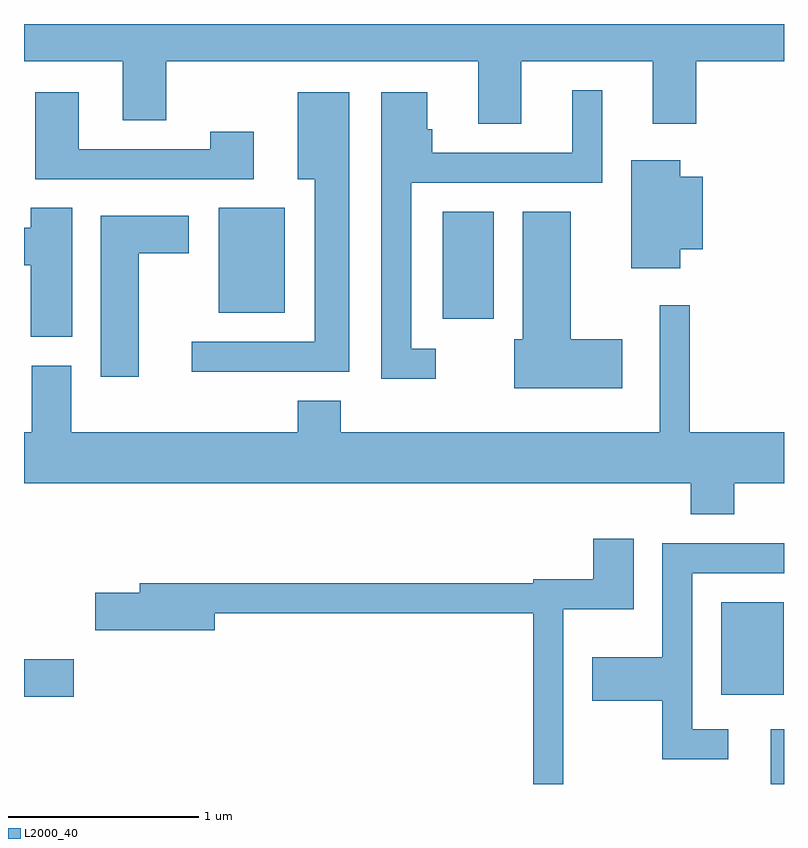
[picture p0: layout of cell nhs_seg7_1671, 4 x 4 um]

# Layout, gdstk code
import gdstk
lib = gdstk.Library(unit=1e-6, precision=1e-09)
def R(c, l, rs):  # rectangles x0, y0, x1, y1
    for r in rs: c.add(gdstk.rectangle(r[:2], r[2:], *l))
def P(c, l, *ps):  # polygons
    for p in ps: c.add(gdstk.Polygon(p, *l))
L2000_40 = (2000, 40)

nhs_seg7_1671 = lib.new_cell('nhs_seg7_1671')
R(nhs_seg7_1671, L2000_40, [(239.541,1748.252,239.611,1748.539), (235.611,1748.711,235.874,1748.909), (239.281,1748.721,239.609,1749.209), (237.816,1750.701,238.084,1751.264), (236.636,1750.731,236.984,1751.284)])
P(nhs_seg7_1671, L2000_40, [(238.229,1752.056),(238.921,1752.056),(238.921,1751.726),(239.149,1751.726),(239.149,1752.056),(239.611,1752.056),(239.611,1752.252),(235.611,1752.252),(235.611,1752.056),(236.131,1752.056),(236.131,1751.746),(236.359,1751.746),(236.359,1752.056),(238.001,1752.056),(238.001,1751.726),(238.229,1751.726)],
  [(237.778,1750.544),(237.649,1750.544),(237.649,1751.416),(238.654,1751.416),(238.654,1751.903),(238.496,1751.903),(238.496,1751.574),(237.759,1751.574),(237.759,1751.699),(237.734,1751.699),(237.734,1751.894),(237.491,1751.894),(237.491,1750.386),(237.778,1750.386)],
  [(236.819,1751.684),(236.591,1751.684),(236.591,1751.594),(235.899,1751.594),(235.899,1751.894),(235.671,1751.894),(235.671,1751.436),(236.819,1751.436)],
  [(237.324,1751.894),(237.051,1751.894),(237.051,1751.436),(237.141,1751.436),(237.141,1750.579),(236.493,1750.579),(236.493,1750.421),(237.324,1750.421)],
  [(239.064,1751.066),(239.184,1751.066),(239.184,1751.449),(239.064,1751.449),(239.064,1751.534),(238.806,1751.534),(238.806,1750.966),(239.064,1750.966)],
  [(235.864,1751.284),(235.646,1751.284),(235.646,1751.179),(235.611,1751.179),(235.611,1750.981),(235.646,1750.981),(235.646,1750.606),(235.864,1750.606)],
  [(238.759,1750.594),(238.489,1750.594),(238.489,1751.264),(238.236,1751.264),(238.236,1750.594),(238.191,1750.594),(238.191,1750.336),(238.759,1750.336)],
  [(236.214,1751.046),(236.479,1751.046),(236.479,1751.244),(236.016,1751.244),(236.016,1750.396),(236.214,1750.396)],
  [(239.349,1749.836),(239.611,1749.836),(239.611,1750.104),(239.114,1750.104),(239.114,1750.773),(238.956,1750.773),(238.956,1750.104),(237.279,1750.104),(237.279,1750.269),(237.051,1750.269),(237.051,1750.104),(235.859,1750.104),(235.859,1750.454),(235.651,1750.454),(235.651,1750.104),(235.611,1750.104),(235.611,1749.836),(239.121,1749.836),(239.121,1749.671),(239.349,1749.671)],
  [(238.449,1749.171),(238.819,1749.171),(238.819,1749.544),(238.606,1749.544),(238.606,1749.329),(238.291,1749.329),(238.291,1749.309),(236.221,1749.309),(236.221,1749.259),(235.986,1749.259),(235.986,1749.061),(236.614,1749.061),(236.614,1749.151),(238.291,1749.151),(238.291,1748.252),(238.449,1748.252)],
  [(239.318,1748.539),(239.129,1748.539),(239.129,1749.361),(239.611,1749.361),(239.611,1749.519),(238.971,1749.519),(238.971,1748.919),(238.601,1748.919),(238.601,1748.691),(238.971,1748.691),(238.971,1748.381),(239.318,1748.381)])

lib.write_gds('nhs_seg7_1671.gds')
